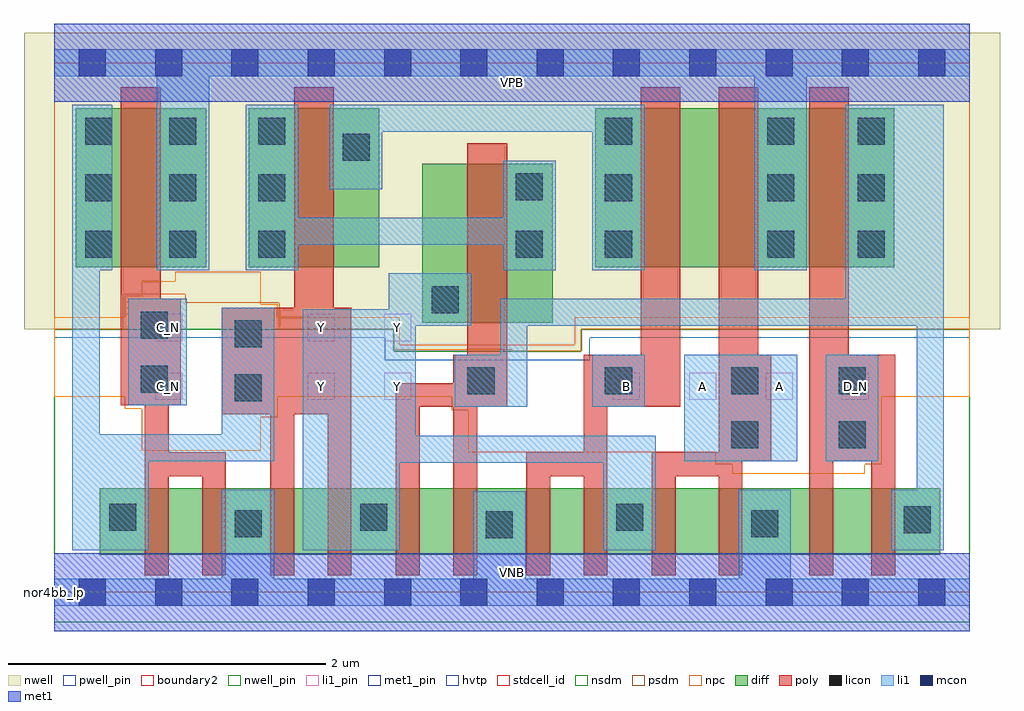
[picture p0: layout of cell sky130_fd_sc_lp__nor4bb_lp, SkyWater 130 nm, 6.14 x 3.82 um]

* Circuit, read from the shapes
.subckt sky130_fd_sc_lp__nor4bb_lp A B C_N D_N VGND VNB VPB VPWR Y
XM1 n1 C_N n2 VNB sky130_fd_pr__nfet_01v8 w=0.42 l=0.15
XM2 VGND C_N n1 VNB sky130_fd_pr__nfet_01v8 w=0.42 l=0.15
XM3 n3 n2 VGND VNB sky130_fd_pr__nfet_01v8 w=0.42 l=0.15
XM4 Y n2 n3 VNB sky130_fd_pr__nfet_01v8 w=0.42 l=0.15
XM5 n4 n5 Y VNB sky130_fd_pr__nfet_01v8 w=0.42 l=0.15
XM6 VGND n5 n4 VNB sky130_fd_pr__nfet_01v8 w=0.42 l=0.15
XM7 n6 B VGND VNB sky130_fd_pr__nfet_01v8 w=0.42 l=0.15
XM8 Y B n6 VNB sky130_fd_pr__nfet_01v8 w=0.42 l=0.15
XM9 n7 A Y VNB sky130_fd_pr__nfet_01v8 w=0.42 l=0.15
XM10 VGND A n7 VNB sky130_fd_pr__nfet_01v8 w=0.42 l=0.15
XM11 n8 D_N VGND VNB sky130_fd_pr__nfet_01v8 w=0.42 l=0.15
XM12 n5 D_N n8 VNB sky130_fd_pr__nfet_01v8 w=0.42 l=0.15
XM13 VPWR C_N n2 VPB sky130_fd_pr__pfet_01v8_hvt w=1 l=0.25
XM14 n9 n2 n10 VPB sky130_fd_pr__pfet_01v8_hvt w=1 l=0.25
XM15 n10 n5 Y VPB sky130_fd_pr__pfet_01v8_hvt w=1 l=0.25
XM16 n11 B n9 VPB sky130_fd_pr__pfet_01v8_hvt w=1 l=0.25
XM17 VPWR A n11 VPB sky130_fd_pr__pfet_01v8_hvt w=1 l=0.25
XM18 n5 D_N VPWR VPB sky130_fd_pr__pfet_01v8_hvt w=1 l=0.25
.ends

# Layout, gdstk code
import gdstk
lib = gdstk.Library(unit=1e-6, precision=1e-09)
def R(c, l, rs):  # rectangles x0, y0, x1, y1
    for r in rs: c.add(gdstk.rectangle(r[:2], r[2:], *l))
def A(c, l, x, y, w, h, nx, ny, dx, dy):  # array of equal rectangles
    R(c, l, [(x+i*dx, y+j*dy, x+i*dx+w, y+j*dy+h) for i in range(nx) for j in range(ny)])
def P(c, l, *ps):  # polygons
    for p in ps: c.add(gdstk.Polygon(p, *l))
nwell_pin = (64, 16)
nwell = (64, 20)
diff = (65, 20)
poly = (66, 20)
licon = (66, 44)
li1_pin = (67, 16)
li1 = (67, 20)
mcon = (67, 44)
met1_pin = (68, 16)
met1 = (68, 20)
hvtp = (78, 44)
stdcell_id = (81, 4)
nsdm = (93, 44)
psdm = (94, 20)
npc = (95, 20)
pwell_pin = (122, 16)
boundary2 = (236, 0)

sky130_fd_sc_lp__nor4bb_ = lib.new_cell('sky130_fd_sc_lp__nor4bb_lp')
R(sky130_fd_sc_lp__nor4bb_, nwell_pin, [(0,3.085,5.76,3.33)])
P(sky130_fd_sc_lp__nor4bb_, nwell, [(5.95,3.52),(-0.19,3.52),(-0.19,1.655),(2.135,1.655),(2.135,1.515),(3.315,1.515),(3.315,1.655),(5.95,1.655)])
R(sky130_fd_sc_lp__nor4bb_, diff, [(0.285,0.235,5.575,0.655), (2.315,1.695,3.135,2.695), (0.135,2.045,0.955,3.045), (1.225,2.045,2.045,3.045), (3.405,2.045,5.285,3.045)])
P(sky130_fd_sc_lp__nor4bb_, poly, [(1.08,0.88),(0.72,0.88),(0.72,1.175),(0.795,1.175),(0.795,1.845),(0.67,1.845),(0.67,3.175),(0.42,3.175),(0.42,1.175),(0.57,1.175),(0.57,0.105),(0.72,0.105),(0.72,0.73),(0.93,0.73),(0.93,0.105),(1.08,0.105)],
  [(1.87,1.79),(1.76,1.79),(1.76,3.175),(1.51,3.175),(1.51,1.79),(1.055,1.79),(1.055,1.12),(1.36,1.12),(1.36,0.105),(1.51,0.105),(1.51,1.12),(1.72,1.12),(1.72,0.105),(1.87,0.105)],
  [(2.85,2.825),(2.6,2.825),(2.6,1.495),(2.51,1.495),(2.51,1.315),(2.15,1.315),(2.15,0.105),(2.3,0.105),(2.3,1.165),(2.51,1.165),(2.51,0.105),(2.66,0.105),(2.66,1.165),(2.85,1.165)],
  [(3.94,3.175),(3.69,3.175),(3.69,1.495),(3.33,1.495),(3.33,0.88),(2.97,0.88),(2.97,0.105),(3.12,0.105),(3.12,0.73),(3.33,0.73),(3.33,0.105),(3.48,0.105),(3.48,1.165),(3.94,1.165)],
  [(4.51,1.495),(4.43,1.495),(4.43,3.175),(4.18,3.175),(4.18,0.88),(3.76,0.88),(3.76,0.105),(3.91,0.105),(3.91,0.73),(4.18,0.73),(4.18,0.105),(4.33,0.105),(4.33,0.825),(4.51,0.825)],
  [(5.29,1.495),(5,1.495),(5,3.175),(4.75,3.175),(4.75,0.105),(4.9,0.105),(4.9,0.825),(5.14,0.825),(5.14,0.105),(5.29,0.105)])
A(sky130_fd_sc_lp__nor4bb_, licon, 0.195, 2.105, 0.17, 0.17, 1, 3, 0, 0.355)
A(sky130_fd_sc_lp__nor4bb_, licon, 0.725, 2.105, 0.17, 0.17, 1, 3, 0, 0.355)
A(sky130_fd_sc_lp__nor4bb_, licon, 1.285, 2.105, 0.17, 0.17, 1, 3, 0, 0.355)
A(sky130_fd_sc_lp__nor4bb_, licon, 3.465, 2.105, 0.17, 0.17, 1, 3, 0, 0.355)
A(sky130_fd_sc_lp__nor4bb_, licon, 4.485, 2.105, 0.17, 0.17, 1, 3, 0, 0.355)
A(sky130_fd_sc_lp__nor4bb_, licon, 5.055, 2.105, 0.17, 0.17, 1, 3, 0, 0.355)
R(sky130_fd_sc_lp__nor4bb_, licon, [(2.715,0.34,2.885,0.51), (1.135,0.345,1.305,0.515), (4.385,0.345,4.555,0.515), (5.345,0.37,5.515,0.54), (0.345,0.385,0.515,0.555), (1.925,0.385,2.095,0.555), (3.535,0.385,3.705,0.555), (4.26,0.905,4.43,1.075), (4.935,0.905,5.105,1.075), (1.135,1.2,1.305,1.37), (2.6,1.245,2.77,1.415), (3.465,1.245,3.635,1.415), (4.26,1.245,4.43,1.415), (4.935,1.245,5.105,1.415), (0.545,1.255,0.715,1.425), (1.135,1.54,1.305,1.71), (0.545,1.595,0.715,1.765), (2.375,1.755,2.545,1.925), (2.905,2.105,3.075,2.275), (2.905,2.465,3.075,2.635), (1.815,2.715,1.985,2.885)])
A(sky130_fd_sc_lp__nor4bb_, li1_pin, 3.515, 1.21, 0.17, 0.17, 4, 1, 0.48, 0)
R(sky130_fd_sc_lp__nor4bb_, li1_pin, [(0.635,1.21,0.805,1.38), (1.595,1.21,1.765,1.38), (2.075,1.21,2.245,1.38), (0.635,1.58,0.805,1.75), (1.595,1.58,1.765,1.75), (2.075,1.58,2.245,1.75)])
R(sky130_fd_sc_lp__nor4bb_, li1, [(3.965,0.825,4.675,1.495), (4.855,0.825,5.185,1.495), (3.385,1.165,3.715,1.495), (0.465,1.175,0.835,1.845)])
P(sky130_fd_sc_lp__nor4bb_, li1, [(0.645,2.025),(0.645,3.245),(0,3.245),(0,3.415),(5.76,3.415),(5.76,3.245),(4.735,3.245),(4.735,2.025),(4.405,2.025),(4.405,3.245),(0.975,3.245),(0.975,2.025)],
  [(2.635,0.085),(2.635,0.635),(2.965,0.635),(2.965,0.085),(4.305,0.085),(4.305,0.645),(4.635,0.645),(4.635,0.085),(5.76,0.085),(5.76,-0.085),(0,-0.085),(0,0.085),(1.055,0.085),(1.055,0.645),(1.385,0.645),(1.385,0.085)],
  [(4.975,1.845),(4.975,3.065),(5.595,3.065),(5.595,0.265),(5.265,0.265),(5.265,0.645),(5.425,0.645),(5.425,1.675),(2.975,1.675),(2.975,1.165),(2.52,1.165),(2.52,1.495),(2.805,1.495),(2.805,1.845)],
  [(0.115,3.065),(0.365,3.065),(0.365,2.025),(0.285,2.025),(0.285,0.995),(1.055,0.995),(1.055,1.79),(1.385,1.79),(1.385,0.825),(0.595,0.825),(0.595,0.265),(0.115,0.265)],
  [(2.275,0.985),(3.785,0.985),(3.785,0.265),(3.455,0.265),(3.455,0.815),(2.175,0.815),(2.175,0.265),(1.565,0.265),(1.565,1.78),(2.105,1.78),(2.105,2.005),(2.625,2.005),(2.625,1.675),(2.275,1.675)],
  [(2.825,2.025),(2.825,2.185),(1.535,2.185),(1.535,2.025),(1.205,2.025),(1.205,3.065),(1.535,3.065),(1.535,2.355),(2.825,2.355),(2.825,2.715),(3.155,2.715),(3.155,2.025)],
  [(3.385,2.025),(3.385,2.895),(2.065,2.895),(2.065,2.535),(1.735,2.535),(1.735,3.065),(3.715,3.065),(3.715,2.025)])
A(sky130_fd_sc_lp__nor4bb_, mcon, 0.155, -0.085, 0.17, 0.17, 12, 2, 0.48, 3.33)
R(sky130_fd_sc_lp__nor4bb_, met1_pin, [(0,0,5.76,0.245), (0,3.085,5.76,3.33)])
R(sky130_fd_sc_lp__nor4bb_, met1, [(0,-0.245,5.76,0.245), (0,3.085,5.76,3.575)])
P(sky130_fd_sc_lp__nor4bb_, hvtp, [(5.76,3.33),(0,3.33),(0,1.6),(2.08,1.6),(2.08,1.46),(3.37,1.46),(3.37,1.6),(5.76,1.6)])
R(sky130_fd_sc_lp__nor4bb_, stdcell_id, [(0,0,5.76,3.33)])
P(sky130_fd_sc_lp__nor4bb_, nsdm, [(5.76,1.655),(3.315,1.655),(3.315,1.515),(2.135,1.515),(2.135,1.655),(0,1.655),(0,-0.19),(5.76,-0.19)])
P(sky130_fd_sc_lp__nor4bb_, psdm, [(5.76,3.52),(0,3.52),(0,1.655),(0.435,1.655),(0.435,1.875),(0.825,1.875),(0.825,1.82),(1.415,1.82),(1.415,1.655),(2.135,1.655),(2.135,1.525),(2.88,1.525),(2.88,1.515),(3.315,1.515),(3.315,1.655),(5.76,1.655)])
P(sky130_fd_sc_lp__nor4bb_, npc, [(5.76,1.73),(3.275,1.73),(3.275,1.555),(2.175,1.555),(2.175,1.73),(1.405,1.73),(1.405,1.81),(1.3,1.81),(1.3,2.015),(0.76,2.015),(0.76,1.955),(0.55,1.955),(0.55,1.865),(0.445,1.865),(0.445,1.73),(0,1.73),(0,1.23),(0.445,1.23),(0.445,1.155),(0.55,1.155),(0.55,0.89),(1.3,0.89),(1.3,1.1),(1.405,1.1),(1.405,1.23),(2.5,1.23),(2.5,1.145),(2.605,1.145),(2.605,0.88),(4.16,0.88),(4.16,0.805),(4.265,0.805),(4.265,0.745),(5.1,0.745),(5.1,0.805),(5.205,0.805),(5.205,1.23),(5.76,1.23)])
R(sky130_fd_sc_lp__nor4bb_, pwell_pin, [(0,0,5.76,0.245)])
R(sky130_fd_sc_lp__nor4bb_, boundary2, [(0,0,5.76,3.33)])
sky130_fd_sc_lp__nor4bb_.add(gdstk.Label('VNB', (2.88,0.123), layer=64, texttype=59))
sky130_fd_sc_lp__nor4bb_.add(gdstk.Label('VPB', (2.88,3.208), layer=64, texttype=5))
sky130_fd_sc_lp__nor4bb_.add(gdstk.Label('nor4bb_lp', (0,0), layer=83, texttype=44))
sky130_fd_sc_lp__nor4bb_.add(gdstk.Label('VPWR', (2.88,3.208), layer=68, texttype=5))
sky130_fd_sc_lp__nor4bb_.add(gdstk.Label('VGND', (2.88,0.123), layer=68, texttype=5))
sky130_fd_sc_lp__nor4bb_.add(gdstk.Label('D_N', (5.04,1.295), layer=67, texttype=5))
sky130_fd_sc_lp__nor4bb_.add(gdstk.Label('C_N', (0.72,1.295), layer=67, texttype=5))
sky130_fd_sc_lp__nor4bb_.add(gdstk.Label('C_N', (0.72,1.665), layer=67, texttype=5))
sky130_fd_sc_lp__nor4bb_.add(gdstk.Label('B', (3.6,1.295), layer=67, texttype=5))
sky130_fd_sc_lp__nor4bb_.add(gdstk.Label('A', (4.08,1.295), layer=67, texttype=5))
sky130_fd_sc_lp__nor4bb_.add(gdstk.Label('A', (4.56,1.295), layer=67, texttype=5))
sky130_fd_sc_lp__nor4bb_.add(gdstk.Label('Y', (1.68,1.295), layer=67, texttype=5))
sky130_fd_sc_lp__nor4bb_.add(gdstk.Label('Y', (1.68,1.665), layer=67, texttype=5))
sky130_fd_sc_lp__nor4bb_.add(gdstk.Label('Y', (2.16,1.295), layer=67, texttype=5))
sky130_fd_sc_lp__nor4bb_.add(gdstk.Label('Y', (2.16,1.665), layer=67, texttype=5))

lib.write_gds('sky130_fd_sc_lp__nor4bb_lp.gds')
